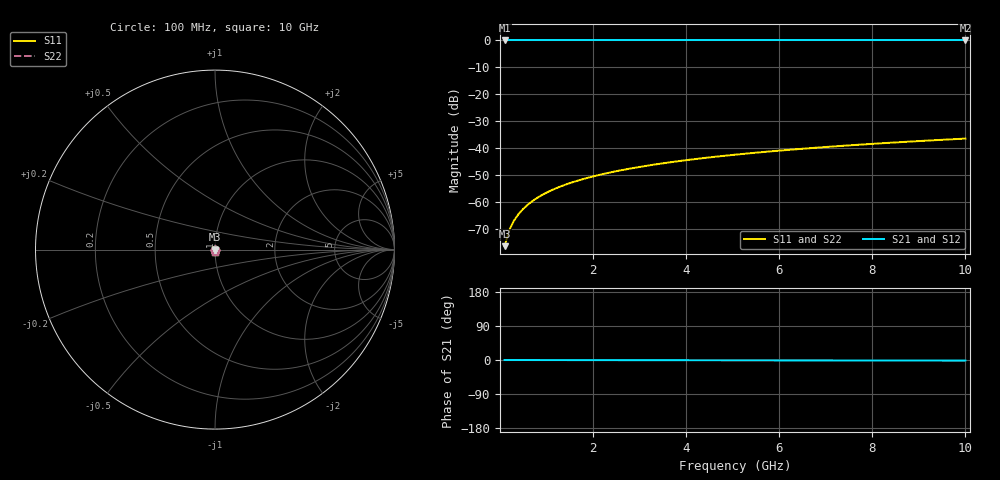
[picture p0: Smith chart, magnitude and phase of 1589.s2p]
# Hz S RI R 50.00
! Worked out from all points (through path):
!   100 points, 100 MHz to 10 GHz, reference 50 ohm
!   highest |S21| = 0.00 dB at 100 MHz (marker M1); lowest = 0.0 dB at 10 GHz (marker M2)
!   lowest |S11| = -76.5 dB at 100 MHz (marker M3), VSWR 1.00, Z = 50 - j0.0148 ohm
!   |S11| at or under -10 dB: start of sweep to end of sweep
!   |S22| runs from -76.5 to -36.5 dB; largest |S21 - S12| = 0
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1e8  2.26e-05 -0.000148  1 -0.000275  1 -0.000275  2.26e-05 -0.000148
2e8  2.24e-05 -0.000296  1 -0.00055  1 -0.00055  2.24e-05 -0.000296
3e8  2.21e-05 -0.000443  1 -0.000825  1 -0.000825  2.21e-05 -0.000443
4e8  2.17e-05 -0.000591  1 -0.0011  1 -0.0011  2.17e-05 -0.000591
5e8  2.12e-05 -0.000739  1 -0.00137  1 -0.00137  2.12e-05 -0.000739
6e8  2.06e-05 -0.000887  1 -0.00165  1 -0.00165  2.06e-05 -0.000887
7e8  2e-05 -0.00103  1 -0.00193  1 -0.00193  2e-05 -0.00103
8e8  1.92e-05 -0.00118  1 -0.0022  1 -0.0022  1.92e-05 -0.00118
9e8  1.84e-05 -0.00133  1 -0.00248  1 -0.00248  1.84e-05 -0.00133
1.1e9  1.65e-05 -0.00163  1 -0.00303  1 -0.00303  1.65e-05 -0.00163
1.4e9  1.29e-05 -0.00207  1 -0.00385  1 -0.00385  1.29e-05 -0.00207
1.8e9  7.08e-06 -0.00266  1 -0.00495  1 -0.00495  7.08e-06 -0.00266
2.1e9  1.81e-06 -0.00311  0.9999 -0.00578  0.9999 -0.00578  1.81e-06 -0.00311
2.5e9  -6.38e-06 -0.0037  0.9999 -0.00689  0.9999 -0.00689  -6.38e-06 -0.0037
2.9e9  -1.59e-05 -0.0043  0.9999 -0.00799  0.9999 -0.00799  -1.59e-05 -0.0043
3.4e9  -2.97e-05 -0.00504  0.9999 -0.00937  0.9999 -0.00937  -2.97e-05 -0.00504
4.2e9  -5.61e-05 -0.00624  0.9999 -0.0116  0.9999 -0.0116  -5.61e-05 -0.00624
5.1e9  -9.22e-05 -0.00758  0.9998 -0.0141  0.9998 -0.0141  -9.22e-05 -0.00758
5.9e9  -0.00013 -0.00878  0.9998 -0.0163  0.9998 -0.0163  -0.00013 -0.00878
6.7e9  -0.000173 -0.00998  0.9997 -0.0186  0.9997 -0.0186  -0.000173 -0.00998
8.4e9  -0.000284 -0.0125  0.9996 -0.0233  0.9996 -0.0233  -0.000284 -0.0125
1e10  -0.00041 -0.015  0.9995 -0.0278  0.9995 -0.0278  -0.00041 -0.015
